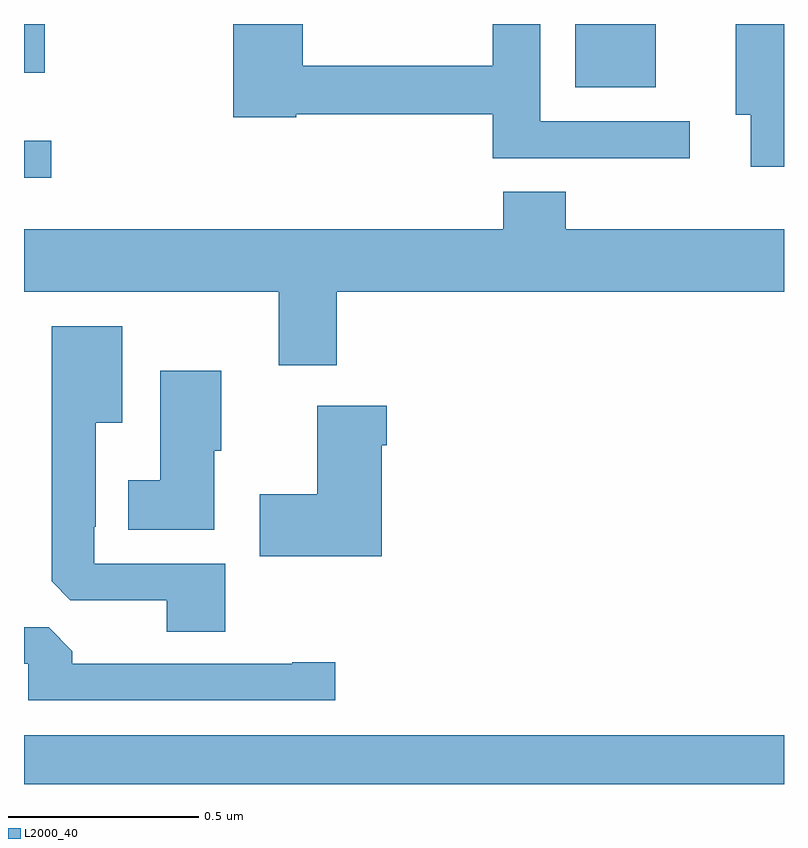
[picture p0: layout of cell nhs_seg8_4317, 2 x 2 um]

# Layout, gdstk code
import gdstk
lib = gdstk.Library(unit=1e-6, precision=1e-09)
def R(c, l, rs):  # rectangles x0, y0, x1, y1
    for r in rs: c.add(gdstk.rectangle(r[:2], r[2:], *l))
def P(c, l, *ps):  # polygons
    for p in ps: c.add(gdstk.Polygon(p, *l))
L2000_40 = (2000, 40)

nhs_seg8_4317 = lib.new_cell('nhs_seg8_4317')
R(nhs_seg8_4317, L2000_40, [(169,1085.9,171,1086.028), (169,1087.496,169.072,1087.593), (170.45,1087.733,170.662,1087.9), (169,1087.772,169.054,1087.9)])
P(nhs_seg8_4317, L2000_40, [(171,1087.9),(170.873,1087.9),(170.873,1087.661),(170.912,1087.661),(170.912,1087.524),(171,1087.524)],
  [(170.752,1087.644),(170.359,1087.644),(170.359,1087.9),(170.234,1087.9),(170.234,1087.79),(169.733,1087.79),(169.733,1087.9),(169.55,1087.9),(169.55,1087.654),(169.716,1087.654),(169.716,1087.662),(170.234,1087.662),(170.234,1087.547),(170.752,1087.547)],
  [(169.823,1087.196),(171,1087.196),(171,1087.36),(170.426,1087.36),(170.426,1087.459),(170.261,1087.459),(170.261,1087.36),(169,1087.36),(169,1087.196),(169.67,1087.196),(169.67,1087.002),(169.823,1087.002)],
  [(169.529,1086.48),(169.185,1086.48),(169.185,1086.577),(169.189,1086.577),(169.189,1086.851),(169.258,1086.851),(169.258,1087.105),(169.073,1087.105),(169.073,1086.433),(169.122,1086.384),(169.376,1086.384),(169.376,1086.301),(169.529,1086.301)],
  [(169.501,1086.777),(169.519,1086.777),(169.519,1086.988),(169.358,1086.988),(169.358,1086.7),(169.274,1086.7),(169.274,1086.569),(169.501,1086.569)],
  [(169.942,1086.791),(169.955,1086.791),(169.955,1086.895),(169.772,1086.895),(169.772,1086.663),(169.62,1086.663),(169.62,1086.5),(169.942,1086.5)],
  [(169.819,1086.221),(169.706,1086.221),(169.706,1086.216),(169.127,1086.216),(169.127,1086.25),(169.065,1086.312),(169,1086.312),(169,1086.216),(169.011,1086.216),(169.011,1086.12),(169.819,1086.12)])

lib.write_gds('nhs_seg8_4317.gds')
